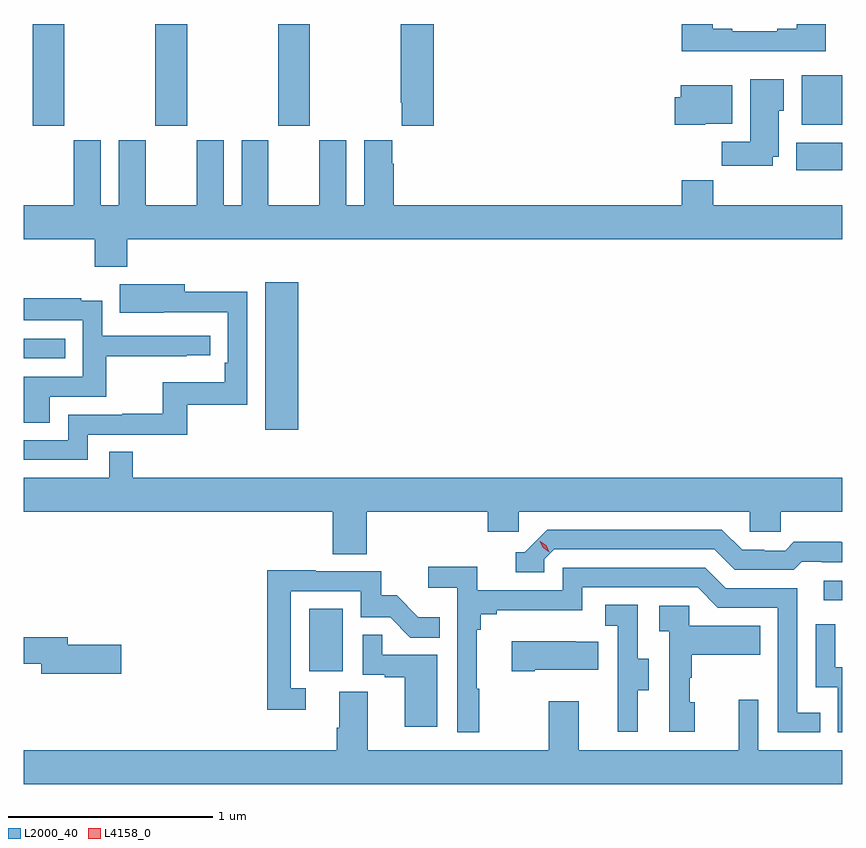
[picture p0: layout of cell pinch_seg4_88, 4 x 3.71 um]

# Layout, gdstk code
import gdstk
lib = gdstk.Library(unit=1e-6, precision=1e-09)
def R(c, l, rs):  # rectangles x0, y0, x1, y1
    for r in rs: c.add(gdstk.rectangle(r[:2], r[2:], *l))
def A(c, l, x, y, w, h, nx, ny, dx, dy):  # array of equal rectangles
    R(c, l, [(x+i*dx, y+j*dy, x+i*dx+w, y+j*dy+h) for i in range(nx) for j in range(ny)])
def P(c, l, *ps):  # polygons
    for p in ps: c.add(gdstk.Polygon(p, *l))
L2000_40 = (2000, 40)
L4158_0 = (4158, 0)

pinch_seg4_88 = lib.new_cell('pinch_seg4_88')
A(pinch_seg4_88, L2000_40, 1065.511, 828.009, 0.155, 0.498, 3, 1, 0.6, 0)
R(pinch_seg4_88, L2000_40, [(1066.862,825.342,1067.026,825.649), (1069.377,825.69,1069.468,825.786), (1066.649,826.524,1066.81,827.245), (1065.468,826.872,1065.671,826.968), (1069.244,827.792,1069.468,827.926), (1069.271,828.014,1069.468,828.256)])
P(pinch_seg4_88, L2000_40, [(1069.387,828.507),(1069.247,828.507),(1069.247,828.484),(1069.151,828.484),(1069.151,828.471),(1068.931,828.471),(1068.931,828.484),(1068.835,828.484),(1068.835,828.507),(1068.683,828.507),(1068.683,828.374),(1069.387,828.374)],
  [(1067.471,828.507),(1067.311,828.507),(1067.311,828.121),(1067.315,828.121),(1067.315,828.009),(1067.471,828.009)],
  [(1069.129,827.858),(1069.159,827.858),(1069.159,828.084),(1069.183,828.084),(1069.183,828.238),(1069.019,828.238),(1069.019,827.932),(1068.88,827.932),(1068.88,827.814),(1069.129,827.814)],
  [(1068.798,828.02),(1068.931,828.02),(1068.931,828.208),(1068.68,828.208),(1068.68,828.15),(1068.65,828.15),(1068.65,828.014),(1068.798,828.014)],
  [(1065.974,827.456),(1069.468,827.456),(1069.468,827.62),(1068.839,827.62),(1068.839,827.744),(1068.683,827.744),(1068.683,827.62),(1067.276,827.62),(1067.276,827.825),(1067.269,827.825),(1067.269,827.938),(1067.132,827.938),(1067.132,827.62),(1067.044,827.62),(1067.044,827.938),(1066.913,827.938),(1066.913,827.62),(1066.663,827.62),(1066.663,827.938),(1066.532,827.938),(1066.532,827.62),(1066.444,827.62),(1066.444,827.938),(1066.313,827.938),(1066.313,827.62),(1066.063,827.62),(1066.063,827.938),(1065.932,827.938),(1065.932,827.62),(1065.844,827.62),(1065.844,827.938),(1065.713,827.938),(1065.713,827.62),(1065.468,827.62),(1065.468,827.456),(1065.814,827.456),(1065.814,827.321),(1065.974,827.321)],
  [(1065.78,826.5),(1066.267,826.5),(1066.267,826.647),(1066.56,826.647),(1066.56,827.198),(1066.255,827.198),(1066.255,827.236),(1065.937,827.236),(1065.937,827.096),(1066.151,827.096),(1066.151,827.097),(1066.464,827.097),(1066.464,826.852),(1066.451,826.852),(1066.451,826.756),(1066.146,826.756),(1066.146,826.601),(1065.949,826.601),(1065.949,826.596),(1065.684,826.596),(1065.684,826.473),(1065.468,826.473),(1065.468,826.377),(1065.78,826.377)],
  [(1065.595,826.686),(1065.872,826.686),(1065.872,826.882),(1066.265,826.882),(1066.265,826.887),(1066.378,826.887),(1066.378,826.983),(1065.852,826.983),(1065.852,827.155),(1065.749,827.155),(1065.749,827.167),(1065.468,827.167),(1065.468,827.058),(1065.756,827.058),(1065.756,826.782),(1065.468,826.782),(1065.468,826.558),(1065.595,826.558)],
  [(1067.144,826.124),(1067.735,826.124),(1067.735,826.026),(1067.886,826.026),(1067.886,826.124),(1069.017,826.124),(1069.017,826.026),(1069.167,826.026),(1069.167,826.124),(1069.468,826.124),(1069.468,826.288),(1066.001,826.288),(1066.001,826.415),(1065.885,826.415),(1065.885,826.288),(1065.468,826.288),(1065.468,826.124),(1066.979,826.124),(1066.979,825.916),(1067.144,825.916)],
  [(1068.012,825.891),(1068.06,825.939),(1068.843,825.939),(1068.942,825.84),(1069.231,825.84),(1069.27,825.879),(1069.369,825.879),(1069.369,825.876),(1069.468,825.876),(1069.468,825.973),(1069.464,825.973),(1069.464,825.976),(1069.231,825.976),(1069.189,825.933),(1069.086,825.933),(1069.086,825.936),(1068.979,825.936),(1068.88,826.035),(1068.027,826.035),(1067.916,825.924),(1067.873,825.924),(1067.873,825.828),(1068.012,825.828)],
  [(1067.695,825.257),(1067.683,825.257),(1067.683,825.545),(1067.702,825.545),(1067.702,825.622),(1067.779,825.622),(1067.779,825.641),(1068.198,825.641),(1068.198,825.753),(1068.762,825.753),(1068.861,825.654),(1069.152,825.654),(1069.152,825.045),(1069.361,825.045),(1069.361,825.141),(1069.248,825.141),(1069.248,825.75),(1068.898,825.75),(1068.799,825.849),(1068.102,825.849),(1068.102,825.738),(1067.684,825.738),(1067.684,825.854),(1067.445,825.854),(1067.445,825.752),(1067.586,825.752),(1067.586,825.045),(1067.695,825.045)],
  [(1066.846,825.261),(1066.773,825.261),(1066.773,825.735),(1067.115,825.735),(1067.115,825.606),(1067.259,825.606),(1067.357,825.508),(1067.501,825.508),(1067.501,825.607),(1067.397,825.607),(1067.29,825.714),(1067.214,825.714),(1067.214,825.831),(1066.895,825.831),(1066.895,825.836),(1066.657,825.836),(1066.657,825.156),(1066.846,825.156)],
  [(1068.469,825.25),(1068.523,825.25),(1068.523,825.405),(1068.468,825.405),(1068.468,825.668),(1068.309,825.668),(1068.309,825.565),(1068.372,825.565),(1068.372,825.261),(1068.371,825.261),(1068.371,825.048),(1068.469,825.048)],
  [(1068.748,825.192),(1068.723,825.192),(1068.723,825.311),(1068.733,825.311),(1068.733,825.425),(1069.067,825.425),(1069.067,825.565),(1068.72,825.565),(1068.72,825.663),(1068.573,825.663),(1068.573,825.539),(1068.624,825.539),(1068.624,825.048),(1068.748,825.048)],
  [(1069.468,825.362),(1069.434,825.362),(1069.434,825.574),(1069.338,825.574),(1069.338,825.264),(1069.446,825.264),(1069.446,825.045),(1069.468,825.045)],
  [(1067.488,825.423),(1067.219,825.423),(1067.219,825.521),(1067.124,825.521),(1067.124,825.327),(1067.231,825.327),(1067.231,825.315),(1067.33,825.315),(1067.33,825.072),(1067.488,825.072)],
  [(1065.943,825.473),(1065.682,825.473),(1065.682,825.509),(1065.468,825.509),(1065.468,825.381),(1065.554,825.381),(1065.554,825.331),(1065.943,825.331)],
  [(1067.965,825.35),(1068.275,825.35),(1068.275,825.487),(1068.167,825.487),(1068.167,825.49),(1067.853,825.49),(1067.853,825.343),(1067.965,825.343)],
  [(1069.468,824.956),(1069.059,824.956),(1069.059,825.205),(1068.962,825.205),(1068.962,824.956),(1068.181,824.956),(1068.181,825.196),(1068.034,825.196),(1068.034,824.956),(1067.149,824.956),(1067.149,825.242),(1067.009,825.242),(1067.009,825.068),(1066.997,825.068),(1066.997,824.956),(1065.468,824.956),(1065.468,824.792),(1069.468,824.792)])
P(pinch_seg4_88, L4158_0, [(1068.037,825.926),(1068.007,825.946),(1067.991,825.979),(1067.991,825.979),(1067.992,825.979),(1068.022,825.959),(1068.037,825.926),(1068.037,825.926)])

lib.write_gds('pinch_seg4_88.gds')
